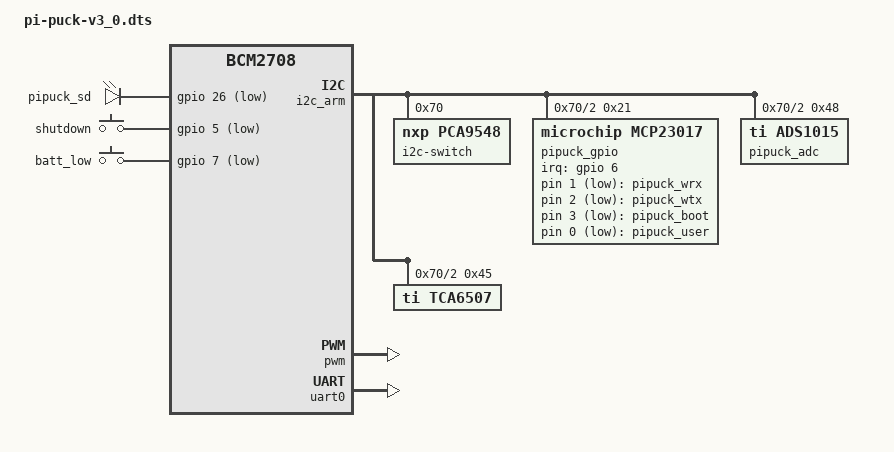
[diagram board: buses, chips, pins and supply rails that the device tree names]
/dts-v1/;
/plugin/;

/ {
	compatible = "brcm,bcm2708";

	/* I2C devices */
	fragment@0 {
		target = <&i2c_arm>;
		__overlay__ {
			#address-cells = <1>;
			#size-cells = <0>;
			status = "okay";
			i2c-switch@70 {
				compatible = "nxp,pca9548";
				#address-cells = <1>;
				#size-cells = <0>;
				reg = <0x70>;
				i2c@0 {
					#address-cells = <1>;
					#size-cells = <0>;
					reg = <0>;
					/* Sensor Board 1 */
				};
				i2c@1 {
					#address-cells = <1>;
					#size-cells = <0>;
					reg = <1>;
					/* Sensor Board 2 */
				};
				i2c@2 {
					#address-cells = <1>;
					#size-cells = <0>;
					reg = <2>;
					pipuck_gpio: gpio@21 {
						compatible = "microchip,mcp23017";
						gpio-controller;
						#gpio-cells = <2>;
						reg = <0x21>;
						interrupt-parent = <&gpio>;
						interrupts = <6 0x8>;
						interrupt-controller;
						#interrupt-cells = <2>;
						microchip,irq-mirror;
					};
					pipuck_adc: ads1015@48 {
						compatible = "ti,ads1015";
						reg = <0x48>;
						#address-cells = <1>;
						#size-cells = <0>;
						pipuck_ain0: channel@4 {
							reg = <4>;
							ti,gain = <0>;
							ti,datarate = <0>;
						};
						pipuck_ain1: channel@5 {
							reg = <5>;
							ti,gain = <0>;
							ti,datarate = <0>;
						};
					};
					tca6507@45 {
						compatible = "ti,tca6507";
						#address-cells = <1>;
						#size-cells = <0>;
						reg = <0x45>;
						led@0 {
							label = "pipuck_g1_r";
							reg = <0x0>;
						};
						led@1 {
							label = "pipuck_g1_g";
							reg = <0x1>;
						};
						led@2 {
							label = "pipuck_g1_b";
							reg = <0x2>;
						};
						led@3 {
							label = "pipuck_g2_r";
							reg = <0x3>;
						};
						led@4 {
							label = "pipuck_g2_g";
							reg = <0x4>;
						};
						led@5 {
							label = "pipuck_g2_b";
							reg = <0x5>;
						};
						led@6 {
							label = "pipuck_white";
							reg = <0x6>;
						};
					};
					/* OLED 0x3c */
					/* Sensor Board 3 */
				};
				i2c@3 {
					#address-cells = <1>;
					#size-cells = <0>;
					reg = <3>;
					/* Sensor Board 4 */
				};
				i2c@4 {
					#address-cells = <1>;
					#size-cells = <0>;
					reg = <4>;
					/* Sensor Board 5 */
				};
				i2c@5 {
					#address-cells = <1>;
					#size-cells = <0>;
					reg = <5>;
					/* Sensor Board 6 */
				};
				i2c@6 {
					#address-cells = <1>;
					#size-cells = <0>;
					reg = <6>;
					/* e-puck */
					/* Sensor Board 7 */
				};
				i2c@7 {
					#address-cells = <1>;
					#size-cells = <0>;
					reg = <7>;
					/* Sensor Board 8 */
				};
			};
		};
	};

	/* LEDs */
	fragment@1 {
		target-path = "/soc";
		__overlay__ {
			pipuck_leds {
				compatible = "gpio-leds";
				pipuck_sd {
					label = "pipuck_sd";
					gpios = <&gpio 26 1>;
					linux,default-trigger = "mmc0";
				};
				pipuck_wrx {
					label = "pipuck_wrx";
					gpios = <&pipuck_gpio 1 1>;
					linux,default-trigger = "phy0rx";
				};
				pipuck_wtx {
					label = "pipuck_wtx";
					gpios = <&pipuck_gpio 2 1>;
					linux,default-trigger = "phy0tx";
				};
				pipuck_boot {
					label = "pipuck_boot";
					gpios = <&pipuck_gpio 3 1>;
					linux,default-trigger = "heartbeat";
				};
				pipuck_user {
					label = "pipuck_user";
					gpios = <&pipuck_gpio 0 1>;
					linux,default-trigger = "none";
				};
			};
		};
	};

	/* DIP switch keys */
	fragment@2 {
		target-path = "/soc";
		__dormant__ {
			pipuck_dip_switch_keys {
				compatible = "gpio-keys";
				pipuck_switch1 {
					label = "pipuck_switch1";
					gpios = <&pipuck_gpio 4 1>; // SW1
					linux,code = <256>;
				};
				pipuck_switch2 {
					label = "pipuck_switch2";
					gpios = <&pipuck_gpio 5 1>; // SW2
					linux,code = <257>;
				};
				pipuck_switch3 {
					label = "pipuck_switch3";
					gpios = <&pipuck_gpio 6 1>; // SW3
					linux,code = <258>;
				};
				pipuck_switch4 {
					label = "pipuck_switch4";
					gpios = <&pipuck_gpio 7 1>; // SW4
					linux,code = <259>;
				};
			};
		};
	};

	/* Shutdown button key */
	fragment@3 {
		target-path = "/soc";
		__overlay__ {
			pipuck_power_key {
				compatible = "gpio-keys";
				pipuck_shutdown: pipuck_shutdown {
					label = "shutdown";
					linux,code = <116>; // KEY_POWER
					gpios = <&gpio 5 1>;
					debounce-interval = <1000>;
				};
			};
		};
	};

	/* Batt_low shutdown key */
	fragment@4 {
		target-path = "/soc";
		__overlay__ {
			pipuck_batt_low_key {
				compatible = "gpio-keys";
				pipuck_batt_low: pipuck_batt_low {
					label = "batt_low";
					linux,code = <116>; // KEY_POWER
					gpios = <&gpio 7 1>;
					debounce-interval = <2000>;
				};
			};
		};
	};

	/* Audio output */
	fragment@5 {
		target = <&gpio>;
		__overlay__ {
			pwm_pins: pwm_pins {
				brcm,pins = <12>;
				brcm,function = <4>; // Alt0
			};
			pipuck_audio_enable_pins: pipuck_audio_enable_pins {
				brcm,pins = <22>;
				brcm,function = <1>; // GPIO out
			};
		};
	};
	fragment@6 {
		target = <&pwm>;
		__overlay__ {
			pinctrl-names = "default";
			pinctrl-0 = <&pwm_pins &pipuck_audio_enable_pins>;
			status = "okay";
		};
	};

	/* Disable Bluetooth to free up UART */
	fragment@7 {
		target = <&uart1>;
		__overlay__ {
			status = "disabled";
		};
	};
	fragment@8 {
		target = <&uart0>;
		__overlay__ {
			pinctrl-names = "default";
			pinctrl-0 = <&uart0_pins>;
			status = "okay";
		};
	};
	fragment@9 {
		target = <&uart0_pins>;
		__overlay__ {
			brcm,pins;
			brcm,function;
			brcm,pull;
		};
	};
	fragment@10 {
		target-path = "/aliases";
		__overlay__ {
			serial0 = "/soc/serial@7e201000";
			serial1 = "/soc/serial@7e215040";
		};
	};

	/* Enable external ADC channels */
	fragment@11 {
		target = <&pipuck_adc>;
		__dormant__ {
			#address-cells = <1>;
			#size-cells = <0>;
			pipuck_ain2: channel@6 {
				reg = <6>;
				ti,gain = <2>;
				ti,datarate = <4>;
			};
		};
	};
	fragment@12 {
		target = <&pipuck_adc>;
		__dormant__ {
			#address-cells = <1>;
			#size-cells = <0>;
			pipuck_ain3: channel@7 {
				reg = <7>;
				ti,gain = <2>;
				ti,datarate = <4>;
			};
		};
	};

	__overrides__ {
		dip_keys = <0>,"+2";
		power_key_disable = <0>,"-3";
		power_key_debounce = <&pipuck_shutdown>,"debounce-interval:0";
		batt_low_disable = <0>,"-4";
		batt_low_debounce = <&pipuck_batt_low>,"debounce-interval:0";
		uart_disable = <0>,"-7-8-9-10";
		ain2 = <0>,"+11";
		ain2_gain = <&pipuck_ain2>,"ti,gain:0";
		ain2_datarate = <&pipuck_ain2>,"ti,datarate:0";
		ain3 = <0>,"+12";
		ain3_gain = <&pipuck_ain3>,"ti,gain:0";
		ain3_datarate = <&pipuck_ain3>,"ti,datarate:0";
	};
};
